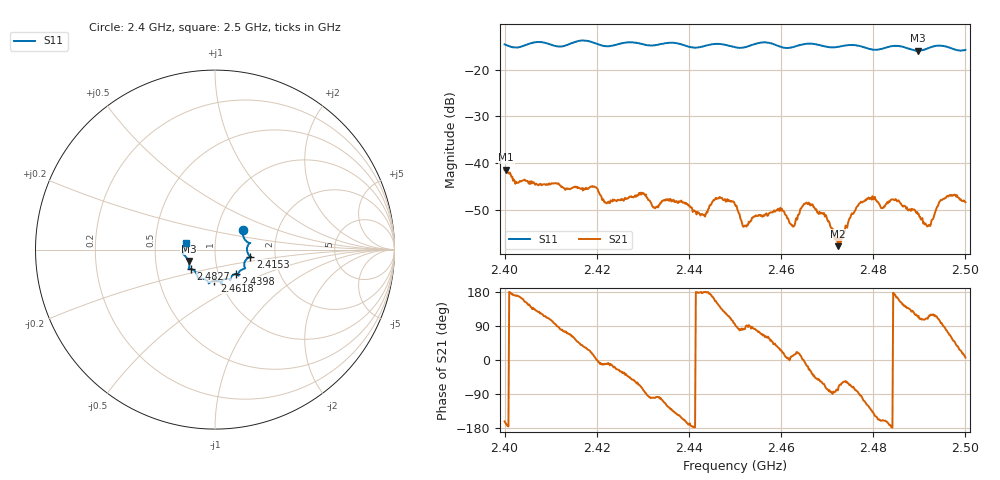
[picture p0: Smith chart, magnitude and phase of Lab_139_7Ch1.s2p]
# Hz S RI R
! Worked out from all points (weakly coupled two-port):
!   601 points, 2.4 GHz to 2.5 GHz, reference 50 ohm
!   highest |S21| = -41.45 dB at 2.4003 GHz (marker M1); lowest = -57.8 dB at 2.4723 GHz (marker M2)
!   lowest |S11| = -15.9 dB at 2.4897 GHz (marker M3), VSWR 1.38, Z = 36.9 - j4.85 ohm
!   |S11| at or under -10 dB: start of sweep to end of sweep
!   S12 and S22 are empty: the file has one direction only
!   S11 on the Smith chart (normalised r, x): 2.4 GHz: 1.33, +0.29; 2.4153 GHz: 1.48, -0.12; 2.4398 GHz: 1.21, -0.34; 2.4618 GHz: 0.94, -0.33; 2.4827 GHz: 0.75, -0.17; 2.5 GHz: 0.72, +0.06
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2.4e9  0.1548 0.1069  -0.00803 -0.00261  0 0  0 0
2.400333e9  0.1544 0.1021  -0.00829 -0.00169  0 0  0 0
2.402667e9  0.1617 0.0639  -0.00606 0.00103  0 0  0 0
2.415333e9  0.1964 -0.039  0.00323 0.00456  0 0  0 0
2.416667e9  0.2022 -0.0429  0.00406 0.0034  0 0  0 0
2.433333e9  0.1299 -0.1343  -0.000479 -0.0033  0 0  0 0
2.439833e9  0.1152 -0.1359  -0.00347 -0.000602  0 0  0 0
2.443e9  0.0888 -0.1547  -0.0028 0.000138  0 0  0 0
2.446167e9  0.0846 -0.1706  -0.00358 0.00216  0 0  0 0
2.45e9  0.0651 -0.1624  -0.000228 0.00357  0 0  0 0
2.452167e9  0.043 -0.1698  0.000303 0.00211  0 0  0 0
2.459667e9  0.0244 -0.177  0.00264 0.00155  0 0  0 0
2.461833e9  -0.00358 -0.1725  0.00228 -3.63e-05  0 0  0 0
2.466667e9  -0.0346 -0.1878  0.00285 -0.00209  0 0  0 0
2.472333e9  -0.0738 -0.1602  0.000224 -0.00126  0 0  0 0
2.477333e9  -0.0972 -0.1505  -0.00026 -0.00384  0 0  0 0
2.482667e9  -0.1347 -0.1086  -0.00337 -0.0012  0 0  0 0
2.483333e9  -0.1398 -0.1083  -0.0038 -0.000793  0 0  0 0
2.489667e9  -0.1472 -0.064  -0.00117 0.00259  0 0  0 0
2.492e9  -0.1681 -0.0344  -0.000892 0.00195  0 0  0 0
2.494833e9  -0.1807 -0.0198  -0.000529 0.00396  0 0  0 0
2.5e9  -0.1594 0.0391  0.00377 0.000428  0 0  0 0
